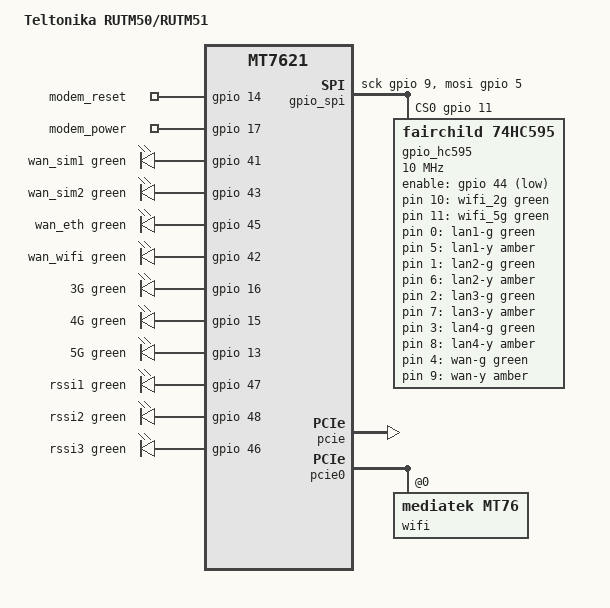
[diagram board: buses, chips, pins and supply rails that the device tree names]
// SPDX-License-Identifier: GPL-2.0-or-later OR MIT

#include "mt7621_teltonika_rutm-common.dtsi"

/ {
	compatible = "teltonika,rutm50", "mediatek,mt7621-soc";
	model = "Teltonika RUTM50/RUTM51";

	gpio_spi {
		compatible = "spi-gpio";
		#address-cells = <1>;
		#size-cells = <0>;

		sck-gpios = <&gpio 9 GPIO_ACTIVE_HIGH>;
		mosi-gpios = <&gpio 5 GPIO_ACTIVE_HIGH>;
		cs-gpios = <&gpio 11 GPIO_ACTIVE_HIGH>;
		num-chipselects = <1>;

		gpio_hc595: gpio_hc595@0 {
			compatible = "fairchild,74hc595";
			reg = <0>;
			gpio-controller;
			#gpio-cells = <2>;
			registers-number = <2>;
			spi-max-frequency = <10000000>;
			enable-gpios = <&gpio 44 GPIO_ACTIVE_LOW>;
		};
	};

	gpio-export {
		compatible = "gpio-export";

		gpio_modem_reset {
			gpio-export,name = "modem_reset";
			gpio-export,output = <0>;
			gpios = <&gpio 14 GPIO_ACTIVE_HIGH>;
		};

		gpio_modem_power {
			gpio-export,name = "modem_power";
			gpio-export,output = <0>;
			gpios = <&gpio 17 GPIO_ACTIVE_HIGH>;
		};
	};

	leds {
		wan_sim1 {
			function = "wan-sim1";
			color = <LED_COLOR_ID_GREEN>;
			gpios = <&gpio 41 GPIO_ACTIVE_HIGH>;
		};

		wan_sim2 {
			function = "wan-sim2";
			color = <LED_COLOR_ID_GREEN>;
			gpios = <&gpio 43 GPIO_ACTIVE_HIGH>;
		};

		wan_eth {
			function = "wan-eth";
			color = <LED_COLOR_ID_GREEN>;
			gpios = <&gpio 45 GPIO_ACTIVE_HIGH>;
		};

		wan_wifi {
			function = "wan-wifi";
			color = <LED_COLOR_ID_GREEN>;
			gpios = <&gpio 42 GPIO_ACTIVE_HIGH>;
		};

		wifi_2g {
			function = LED_FUNCTION_WLAN_2GHZ;
			color = <LED_COLOR_ID_GREEN>;
			gpios = <&gpio_hc595 10 GPIO_ACTIVE_HIGH>;
			linux,default-trigger = "phy0tpt";
		};

		wifi_5g {
			function = LED_FUNCTION_WLAN_5GHZ;
			color = <LED_COLOR_ID_GREEN>;
			gpios = <&gpio_hc595 11 GPIO_ACTIVE_HIGH>;
			linux,default-trigger = "phy1tpt";
		};

		3G {
			function = "3G";
			color = <LED_COLOR_ID_GREEN>;
			gpios = <&gpio 16 GPIO_ACTIVE_HIGH>;
		};

		4G {
			function = "4G";
			color = <LED_COLOR_ID_GREEN>;
			gpios = <&gpio 15 GPIO_ACTIVE_HIGH>;
		};

		5G {
			function = "5G";
			color = <LED_COLOR_ID_GREEN>;
			gpios = <&gpio 13 GPIO_ACTIVE_HIGH>;
		};

		rssi1 {
			function = "rssi-1";
			color = <LED_COLOR_ID_GREEN>;
			gpios = <&gpio 47 GPIO_ACTIVE_HIGH>;
		};

		rssi2 {
			function = "rssi-2";
			color = <LED_COLOR_ID_GREEN>;
			gpios = <&gpio 48 GPIO_ACTIVE_HIGH>;
		};

		rssi3 {
			function = "rssi-3";
			color = <LED_COLOR_ID_GREEN>;
			gpios = <&gpio 46 GPIO_ACTIVE_HIGH>;
		};

		lan1-g {
			function = LED_FUNCTION_LAN;
			function-enumerator = <1>;
			color = <LED_COLOR_ID_GREEN>;
			gpios = <&gpio_hc595 0 GPIO_ACTIVE_HIGH>;
			linux,default-trigger = "mt7530-0:00:1Gbps";
		};

		lan1-y {
			function = LED_FUNCTION_LAN;
			function-enumerator = <1>;
			color = <LED_COLOR_ID_AMBER>;
			gpios = <&gpio_hc595 5 GPIO_ACTIVE_HIGH>;
			linux,default-trigger = "mt7530-0:00:100Mbps";
		};

		lan2-g {
			function = LED_FUNCTION_LAN;
			function-enumerator = <2>;
			color = <LED_COLOR_ID_GREEN>;
			gpios = <&gpio_hc595 1 GPIO_ACTIVE_HIGH>;
			linux,default-trigger = "mt7530-0:01:1Gbps";
		};

		lan2-y {
			function = LED_FUNCTION_LAN;
			function-enumerator = <2>;
			color = <LED_COLOR_ID_AMBER>;
			gpios = <&gpio_hc595 6 GPIO_ACTIVE_HIGH>;
			linux,default-trigger = "mt7530-0:01:100Mbps";
		};

		lan3-g {
			function = LED_FUNCTION_LAN;
			function-enumerator = <3>;
			color = <LED_COLOR_ID_GREEN>;
			gpios = <&gpio_hc595 2 GPIO_ACTIVE_HIGH>;
			linux,default-trigger = "mt7530-0:02:1Gbps";
		};

		lan3-y {
			function = LED_FUNCTION_LAN;
			function-enumerator = <3>;
			color = <LED_COLOR_ID_AMBER>;
			gpios = <&gpio_hc595 7 GPIO_ACTIVE_HIGH>;
			linux,default-trigger = "mt7530-0:02:100Mbps";
		};

		lan4-g {
			function = LED_FUNCTION_LAN;
			function-enumerator = <4>;
			color = <LED_COLOR_ID_GREEN>;
			gpios = <&gpio_hc595 3 GPIO_ACTIVE_HIGH>;
			linux,default-trigger = "mt7530-0:03:1Gbps";
		};

		lan4-y {
			function = LED_FUNCTION_LAN;
			function-enumerator = <4>;
			color = <LED_COLOR_ID_AMBER>;
			gpios = <&gpio_hc595 8 GPIO_ACTIVE_HIGH>;
			linux,default-trigger = "mt7530-0:03:100Mbps";
		};

		wan-g {
			function = LED_FUNCTION_WAN;
			color = <LED_COLOR_ID_GREEN>;
			gpios = <&gpio_hc595 4 GPIO_ACTIVE_HIGH>;
			linux,default-trigger = "mt7530-0:04:1Gbps";
		};

		wan-y {
			function = LED_FUNCTION_WAN;
			color = <LED_COLOR_ID_AMBER>;
			gpios = <&gpio_hc595 9 GPIO_ACTIVE_HIGH>;
			linux,default-trigger = "mt7530-0:04:100Mbps";
		};
	};
};

&switch0 {
	ports {
		port@0 {
			status = "okay";
			label = "lan1";
		};

		port@1 {
			status = "okay";
			label = "lan2";
		};

		port@2 {
			status = "okay";
			label = "lan3";
		};

		port@3 {
			status = "okay";
			label = "lan4";
		};
	};
};

&pcie {
	status = "okay";
};

&pcie0 {
	wifi@0,0 {
		compatible = "mediatek,mt76";
		reg = <0x0000 0 0 0 0>;
		nvmem-cells = <&eeprom_factory_0>;
		nvmem-cell-names = "eeprom";
		#address-cells = <1>;
		#size-cells = <0>;

		band@0 {
			reg = <0>;
			nvmem-cells = <&macaddr_config_0 2>;
			nvmem-cell-names = "mac-address";
		};

		band@1 {
			reg = <1>;
			nvmem-cells = <&macaddr_config_0 3>;
			nvmem-cell-names = "mac-address";
		};
	};
};
